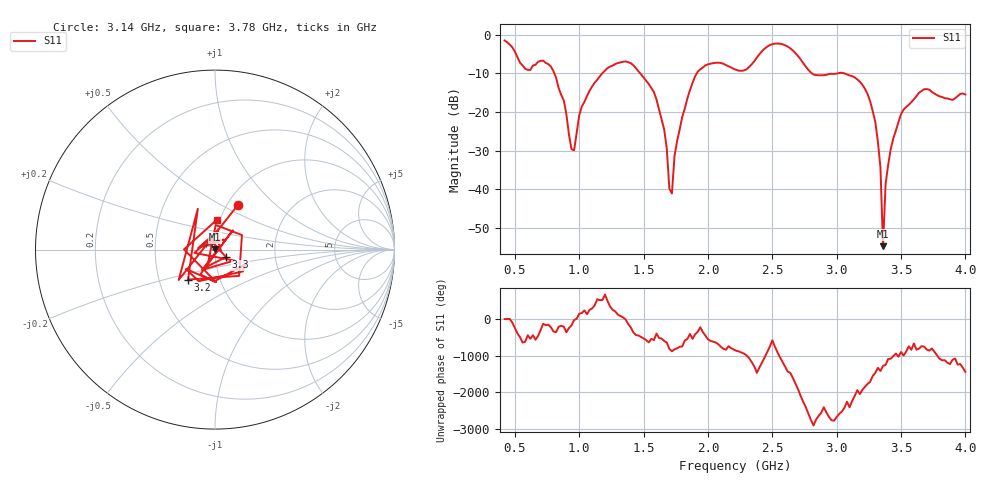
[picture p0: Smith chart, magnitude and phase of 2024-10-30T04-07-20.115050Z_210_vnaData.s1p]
! Created with skrf (http://scikit-rf.org).
# Hz S RI R 50.0
!freq ReS11 ImS11
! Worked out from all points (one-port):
!   180 points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, 420 MHz to 4 GHz, reference 50 ohm
!   lowest |S11| = -54.7 dB at 3.36 GHz (marker M1), VSWR 1.00, Z = 49.8 + j0.0694 ohm
!   |S11| at or under -10 dB: 806.4 MHz to 1.178 GHz (371.7 MHz wide, 37.5 % of centre); 1.474 GHz to 1.913 GHz (439.4 MHz wide, 25.9 % of centre); 3.06 GHz to end of sweep (the widest 3 of 4)
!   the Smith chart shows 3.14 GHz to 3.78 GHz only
!   S11 on the Smith chart (normalised r, x): 3.14 GHz: 1.12, +0.61; 3.2 GHz: 0.70, -0.25; 3.3 GHz: 1.13, -0.09; 3.78 GHz: 0.96, +0.33
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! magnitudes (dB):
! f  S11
! 420 MHz  -1.5
! 580 MHz  -8.8
! 780 MHz  -8.3
! 880 MHz  -17.0
! 960 MHz  -29.9
! 1 GHz  -20.8
! 1.08 GHz  -14.5
! 1.32 GHz  -7.2
! 1.58 GHz  -14.8
! 1.66 GHz  -24.6
! 1.7 GHz  -39.9
! 1.72 GHz  -41.1
! 1.74 GHz  -31.4
! 1.78 GHz  -24.6
! 1.92 GHz  -9.6
! 2.22 GHz  -9.1
! 2.66 GHz  -4.1
! 3.12 GHz  -10.7
! 3.14 GHz  -11.0
! 3.2 GHz  -13.0
! 3.3 GHz  -22.6
! 3.34 GHz  -34.3
! 3.36 GHz  -54.7
! 3.38 GHz  -38.6
! 3.42 GHz  -29.6
! 3.56 GHz  -18.1
! 3.78 GHz  -15.6
! 4 GHz  -15.5
